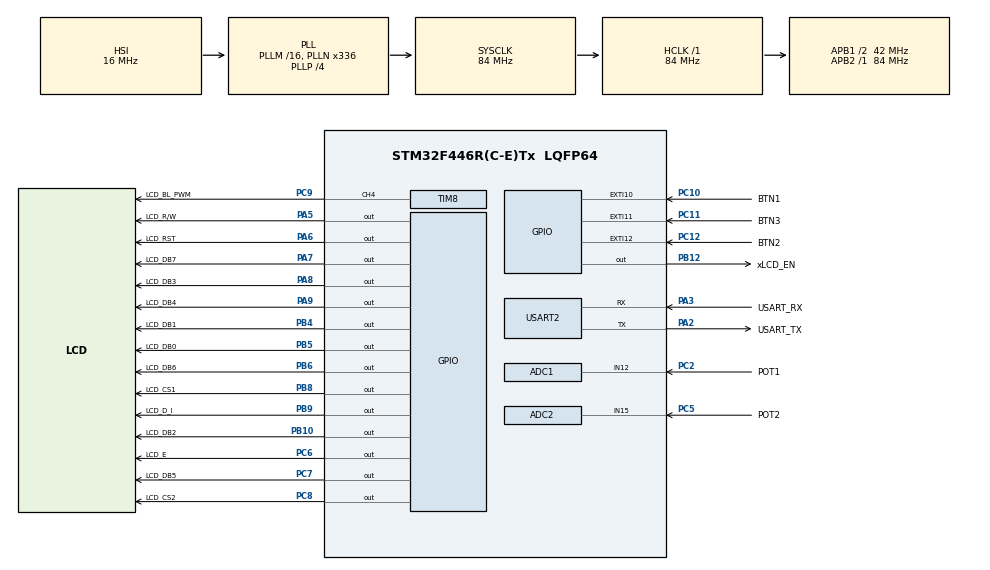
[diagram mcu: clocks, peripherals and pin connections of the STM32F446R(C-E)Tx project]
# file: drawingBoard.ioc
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ADC1.Channel-7\#ChannelRegularConversion=ADC_CHANNEL_12
ADC1.ContinuousConvMode=ENABLE
ADC1.DMAContinuousRequests=ENABLE
ADC1.DataAlign=ADC_DATAALIGN_RIGHT
ADC1.EOCSelection=ADC_EOC_SINGLE_CONV
ADC1.NbrOfConversion=1
ADC1.NbrOfConversionFlag=1
ADC1.Rank-7\#ChannelRegularConversion=1
ADC1.SamplingTime-7\#ChannelRegularConversion=ADC_SAMPLETIME_480CYCLES
ADC1.ScanConvMode=ENABLE
ADC1.master=1
ADC2.Channel-0\#ChannelRegularConversion=ADC_CHANNEL_15
ADC2.ContinuousConvMode=ENABLE
ADC2.DMAContinuousRequests=ENABLE
ADC2.NbrOfConversionFlag=1
ADC2.Rank-0\#ChannelRegularConversion=1
ADC2.SamplingTime-0\#ChannelRegularConversion=ADC_SAMPLETIME_480CYCLES
ADC2.ScanConvMode=ENABLE
Dma.ADC1.0.Direction=DMA_PERIPH_TO_MEMORY
Dma.ADC1.0.FIFOMode=DMA_FIFOMODE_DISABLE
Dma.ADC1.0.Instance=DMA2_Stream0
Dma.ADC1.0.MemDataAlignment=DMA_MDATAALIGN_WORD
Dma.ADC1.0.MemInc=DMA_MINC_ENABLE
Dma.ADC1.0.Mode=DMA_NORMAL
Dma.ADC1.0.PeriphDataAlignment=DMA_PDATAALIGN_WORD
Dma.ADC1.0.PeriphInc=DMA_PINC_DISABLE
Dma.ADC1.0.Priority=DMA_PRIORITY_LOW
Dma.ADC2.1.Direction=DMA_PERIPH_TO_MEMORY
Dma.ADC2.1.FIFOMode=DMA_FIFOMODE_DISABLE
Dma.ADC2.1.Instance=DMA2_Stream2
Dma.ADC2.1.MemDataAlignment=DMA_MDATAALIGN_WORD
Dma.ADC2.1.MemInc=DMA_MINC_ENABLE
Dma.ADC2.1.Mode=DMA_NORMAL
Dma.ADC2.1.PeriphDataAlignment=DMA_PDATAALIGN_WORD
Dma.ADC2.1.PeriphInc=DMA_PINC_DISABLE
Dma.ADC2.1.Priority=DMA_PRIORITY_LOW
Dma.Request0=ADC1
Dma.Request1=ADC2
Mcu.Family=STM32F4
Mcu.Name=STM32F446R(C-E)Tx
Mcu.Package=LQFP64
NVIC.DMA2_Stream0_IRQn=true\:0\:0\:false\:false\:true\:false\:true\:true
NVIC.DMA2_Stream2_IRQn=true\:0\:0\:false\:false\:true\:false\:true\:true
NVIC.EXTI15_10_IRQn=true\:0\:0\:false\:false\:true\:true\:true\:true
NVIC.PriorityGroup=NVIC_PRIORITYGROUP_0
NVIC.USART2_IRQn=true\:0\:0\:false\:false\:true\:true\:true\:true
PA13.GPIO_Label=TMS
PA13.Mode=Trace_Asynchronous_SW
PA13.Signal=SYS_JTMS-SWDIO
PA14.GPIO_Label=TCK
PA14.Mode=Trace_Asynchronous_SW
PA14.Signal=SYS_JTCK-SWCLK
PA2.GPIO_Label=USART_TX
PA2.Mode=Asynchronous
PA2.Signal=USART2_TX
PA3.GPIO_Label=USART_RX
PA3.Mode=Asynchronous
PA3.Signal=USART2_RX
PA5.GPIO_Label=LCD_R/W
PA5.Signal=GPIO_Output
PA6.GPIO_Label=LCD_RST
PA6.Signal=GPIO_Output
PA7.GPIO_Label=LCD_DB7
PA7.Signal=GPIO_Output
PA8.GPIO_Label=LCD_DB3
PA8.Signal=GPIO_Output
PA9.GPIO_Label=LCD_DB4
PA9.Signal=GPIO_Output
PB10.GPIO_Label=LCD_DB2
PB10.Signal=GPIO_Output
PB12.GPIO_Label=xLCD_EN
PB12.Signal=GPIO_Output
PB3.GPIO_Label=SWO
PB3.Mode=Trace_Asynchronous_SW
PB3.Signal=SYS_JTDO-SWO
PB4.GPIO_Label=LCD_DB1
PB4.Signal=GPIO_Output
PB5.GPIO_Label=LCD_DB0
PB5.Signal=GPIO_Output
PB6.GPIO_Label=LCD_DB6
PB6.Signal=GPIO_Output
PB8.GPIO_Label=LCD_CS1
PB8.Signal=GPIO_Output
PB9.GPIO_Label=LCD_D_I
PB9.Signal=GPIO_Output
PC10.GPIO_Label=BTN1
PC10.GPIO_ModeDefaultEXTI=GPIO_MODE_IT_FALLING
PC10.Signal=GPXTI10
PC11.GPIO_Label=BTN3
PC11.GPIO_ModeDefaultEXTI=GPIO_MODE_IT_FALLING
PC11.Signal=GPXTI11
PC12.GPIO_Label=BTN2
PC12.GPIO_ModeDefaultEXTI=GPIO_MODE_IT_FALLING
PC12.Signal=GPXTI12
PC14-OSC32_IN.Mode=LSE-External-Oscillator
PC14-OSC32_IN.Signal=RCC_OSC32_IN
PC15-OSC32_OUT.Mode=LSE-External-Oscillator
PC15-OSC32_OUT.Signal=RCC_OSC32_OUT
PC2.GPIO_Label=POT1
PC2.Signal=ADCx_IN12
PC5.GPIO_Label=POT2
PC5.Signal=ADCx_IN15
PC6.GPIO_Label=LCD_E
PC6.Signal=GPIO_Output
PC7.GPIO_Label=LCD_DB5
PC7.Signal=GPIO_Output
PC8.GPIO_Label=LCD_CS2
PC8.Signal=GPIO_Output
PC9.GPIO_Label=LCD_BL_PWM
PC9.Signal=S_TIM8_CH4
PH0-OSC_IN.Mode=HSE-External-Oscillator
PH0-OSC_IN.Signal=RCC_OSC_IN
PH1-OSC_OUT.Mode=HSE-External-Oscillator
PH1-OSC_OUT.Signal=RCC_OSC_OUT
ProjectManager.HeapSize=0x200
ProjectManager.StackSize=0x400
ProjectManager.TargetToolchain=Makefile
RCC.48MHZClocksFreq_Value=84000000
RCC.AHBFreq_Value=84000000
RCC.APB1CLKDivider=RCC_HCLK_DIV2
RCC.APB1Freq_Value=42000000
RCC.APB1TimFreq_Value=84000000
RCC.APB2Freq_Value=84000000
RCC.APB2TimFreq_Value=84000000
RCC.CortexFreq_Value=84000000
RCC.FLatency-AdvancedSettings=FLASH_LATENCY_2
RCC.HCLKFreq_Value=84000000
RCC.HSE_VALUE=8000000
RCC.HSI_VALUE=16000000
RCC.PLLN=336
RCC.PLLP=RCC_PLLP_DIV4
RCC.SYSCLKFreq_VALUE=84000000
RCC.SYSCLKSource=RCC_SYSCLKSOURCE_PLLCLK
RCC.USBFreq_Value=168000000
RCC.VCOOutputFreq_Value=336000000
SH.ADCx_IN12.0=ADC1_IN12,IN12
SH.ADCx_IN15.0=ADC1_IN15
SH.ADCx_IN15.1=ADC2_IN15,IN15
SH.S_TIM8_CH4.0=TIM8_CH4,PWM Generation4 CH4
TIM1.Period=0xFFFF - 1
TIM1.Prescaler=84 - 1
TIM8.AutoReloadPreload=TIM_AUTORELOAD_PRELOAD_ENABLE
TIM8.Channel-PWM\ Generation4\ CH4=TIM_CHANNEL_4
USART2.VirtualMode=VM_ASYNC
VP_TIM1_VS_ClockSourceINT.Mode=Internal
VP_TIM8_VS_ClockSourceINT.Mode=Internal
board=NUCLEO-F446RE

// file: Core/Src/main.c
/* USER CODE BEGIN Header */
/**
 ******************************************************************************
 * @file           : main.c
 * @brief          : Main program body
 ******************************************************************************
 * @attention
 *
 * Copyright (c) 2023 STMicroelectronics.
 * All rights reserved.
 *
 * This software is licensed under terms that can be found in the LICENSE file
 * in the root directory of this software component.
 * If no LICENSE file comes with this software, it is provided AS-IS.
 *
 ******************************************************************************
 */
/* USER CODE END Header */
#include "main.h"

/* USER CODE BEGIN Includes */
#include "state.h"
#include "menu.h"
#include "drawing.h"
#include "brightness.h"
#include "flash.h"
#include "stm32f446xx.h"
/* USER CODE END Includes */

ADC_HandleTypeDef hadc1;
ADC_HandleTypeDef hadc2;
DMA_HandleTypeDef hdma_adc1;
DMA_HandleTypeDef hdma_adc2;

TIM_HandleTypeDef htim1;
TIM_HandleTypeDef htim8;

UART_HandleTypeDef huart2;

void        SystemClock_Config(void);
static void MX_GPIO_Init(void);
static void MX_DMA_Init(void);
static void MX_ADC1_Init(void);
static void MX_USART2_UART_Init(void);
static void MX_TIM8_Init(void);
static void MX_ADC2_Init(void);
static void MX_TIM1_Init(void);
/* USER CODE BEGIN PFP */
void delay_us(uint16_t us);
/* USER CODE END PFP */

/* USER CODE BEGIN 0 */
void delay_us(uint16_t us)
{
    __HAL_TIM_SET_COUNTER(&htim1, 0); // set the counter value a 0
    while (__HAL_TIM_GET_COUNTER(&htim1) < us)
        ; // wait for the counter to reach the us input in the parameter
}
/* USER CODE END 0 */

int main(void)
{

    /* MCU
     * Configuration--------------------------------------------------------*/

    /* Reset of all peripherals, Initializes the Flash interface and the
     * Systick. */
    HAL_Init();

    /* Configure the system clock */
    SystemClock_Config();

    /* Initialize all configured peripherals */
    MX_GPIO_Init();
    MX_DMA_Init();
    MX_ADC1_Init();
    MX_USART2_UART_Init();
    MX_TIM8_Init();
    MX_ADC2_Init();
    MX_TIM1_Init();
    /* USER CODE BEGIN 2 */
    HAL_TIM_Base_Start(&htim1);
    HAL_UART_Receive_IT(&huart2, &Rx_byte, 1);
    LCD_Init();
    /* USER CODE END 2 */

    /* Infinite loop */
    /* USER CODE BEGIN WHILE */
    while (1) {
        switch (state) {
            case S_MENU:
                menuLoop();
                break;
            case S_DRAWING:
                drawingLoop();
                break;
            case S_SAVE:
                saveDrawing();
                break;
            case S_CHANGE_BRIGHTNESS:
                brightnessLoop();
                break;
        }
        /* USER CODE END WHILE */

    }
}

void SystemClock_Config(void)
{
    RCC_OscInitTypeDef RCC_OscInitStruct = {0};
    RCC_ClkInitTypeDef RCC_ClkInitStruct = {0};

    /** Configure the main internal regulator output voltage
     */
    __HAL_RCC_PWR_CLK_ENABLE();
    __HAL_PWR_VOLTAGESCALING_CONFIG(PWR_REGULATOR_VOLTAGE_SCALE3);

    /** Initializes the RCC Oscillators according to the specified parameters
     * in the RCC_OscInitTypeDef structure.
     */
    RCC_OscInitStruct.OscillatorType      = RCC_OSCILLATORTYPE_HSI;
    RCC_OscInitStruct.HSIState            = RCC_HSI_ON;
    RCC_OscInitStruct.HSICalibrationValue = RCC_HSICALIBRATION_DEFAULT;
    RCC_OscInitStruct.PLL.PLLState        = RCC_PLL_ON;
    RCC_OscInitStruct.PLL.PLLSource       = RCC_PLLSOURCE_HSI;
    RCC_OscInitStruct.PLL.PLLM            = 16;
    RCC_OscInitStruct.PLL.PLLN            = 336;
    RCC_OscInitStruct.PLL.PLLP            = RCC_PLLP_DIV4;
    RCC_OscInitStruct.PLL.PLLQ            = 2;
    RCC_OscInitStruct.PLL.PLLR            = 2;
    if (HAL_RCC_OscConfig(&RCC_OscInitStruct) != HAL_OK) {
        Error_Handler();
    }

    /** Initializes the CPU, AHB and APB buses clocks
     */
    RCC_ClkInitStruct.ClockType = RCC_CLOCKTYPE_HCLK | RCC_CLOCKTYPE_SYSCLK |
                                  RCC_CLOCKTYPE_PCLK1 | RCC_CLOCKTYPE_PCLK2;
    RCC_ClkInitStruct.SYSCLKSource   = RCC_SYSCLKSOURCE_PLLCLK;
    RCC_ClkInitStruct.AHBCLKDivider  = RCC_SYSCLK_DIV1;
    RCC_ClkInitStruct.APB1CLKDivider = RCC_HCLK_DIV2;
    RCC_ClkInitStruct.APB2CLKDivider = RCC_HCLK_DIV1;

    if (HAL_RCC_ClockConfig(&RCC_ClkInitStruct, FLASH_LATENCY_2) != HAL_OK) {
        Error_Handler();
    }
}

static void MX_ADC1_Init(void)
{

    ADC_ChannelConfTypeDef sConfig = {0};

    /** Configure the global features of the ADC (Clock, Resolution, Data Alignment and number of conversion)
     */
    hadc1.Instance                   = ADC1;
    hadc1.Init.ClockPrescaler        = ADC_CLOCK_SYNC_PCLK_DIV4;
    hadc1.Init.Resolution            = ADC_RESOLUTION_12B;
    hadc1.Init.ScanConvMode          = ENABLE;
    hadc1.Init.ContinuousConvMode    = ENABLE;
    hadc1.Init.DiscontinuousConvMode = DISABLE;
    hadc1.Init.ExternalTrigConvEdge  = ADC_EXTERNALTRIGCONVEDGE_NONE;
    hadc1.Init.ExternalTrigConv      = ADC_SOFTWARE_START;
    hadc1.Init.DataAlign             = ADC_DATAALIGN_RIGHT;
    hadc1.Init.NbrOfConversion       = 1;
    hadc1.Init.DMAContinuousRequests = ENABLE;
    hadc1.Init.EOCSelection          = ADC_EOC_SINGLE_CONV;
    if (HAL_ADC_Init(&hadc1) != HAL_OK) {
        Error_Handler();
    }

    /** Configure for the selected ADC regular channel its corresponding rank in the sequencer and its sample time.
     */
    sConfig.Channel      = ADC_CHANNEL_12;
    sConfig.Rank         = 1;
    sConfig.SamplingTime = ADC_SAMPLETIME_480CYCLES;
    if (HAL_ADC_ConfigChannel(&hadc1, &sConfig) != HAL_OK) {
        Error_Handler();
    }
}

static void MX_ADC2_Init(void)
{

    ADC_ChannelConfTypeDef sConfig = {0};

    /** Configure the global features of the ADC (Clock, Resolution, Data Alignment and number of conversion)
     */
    hadc2.Instance                   = ADC2;
    hadc2.Init.ClockPrescaler        = ADC_CLOCK_SYNC_PCLK_DIV4;
    hadc2.Init.Resolution            = ADC_RESOLUTION_12B;
    hadc2.Init.ScanConvMode          = ENABLE;
    hadc2.Init.ContinuousConvMode    = ENABLE;
    hadc2.Init.DiscontinuousConvMode = DISABLE;
    hadc2.Init.ExternalTrigConvEdge  = ADC_EXTERNALTRIGCONVEDGE_NONE;
    hadc2.Init.ExternalTrigConv      = ADC_SOFTWARE_START;
    hadc2.Init.DataAlign             = ADC_DATAALIGN_RIGHT;
    hadc2.Init.NbrOfConversion       = 1;
    hadc2.Init.DMAContinuousRequests = ENABLE;
    hadc2.Init.EOCSelection          = ADC_EOC_SINGLE_CONV;
    if (HAL_ADC_Init(&hadc2) != HAL_OK) {
        Error_Handler();
    }

    /** Configure for the selected ADC regular channel its corresponding rank in the sequencer and its sample time.
     */
    sConfig.Channel      = ADC_CHANNEL_15;
    sConfig.Rank         = 1;
    sConfig.SamplingTime = ADC_SAMPLETIME_480CYCLES;
    if (HAL_ADC_ConfigChannel(&hadc2, &sConfig) != HAL_OK) {
        Error_Handler();
    }
}

static void MX_TIM1_Init(void)
{

    TIM_ClockConfigTypeDef  sClockSourceConfig = {0};
    TIM_MasterConfigTypeDef sMasterConfig      = {0};

    htim1.Instance               = TIM1;
    htim1.Init.Prescaler         = 84 - 1;
    htim1.Init.CounterMode       = TIM_COUNTERMODE_UP;
    htim1.Init.Period            = 0xFFFF - 1;
    htim1.Init.ClockDivision     = TIM_CLOCKDIVISION_DIV1;
    htim1.Init.RepetitionCounter = 0;
    htim1.Init.AutoReloadPreload = TIM_AUTORELOAD_PRELOAD_DISABLE;
    if (HAL_TIM_Base_Init(&htim1) != HAL_OK) {
        Error_Handler();
    }
    sClockSourceConfig.ClockSource = TIM_CLOCKSOURCE_INTERNAL;
    if (HAL_TIM_ConfigClockSource(&htim1, &sClockSourceConfig) != HAL_OK) {
        Error_Handler();
    }
    sMasterConfig.MasterOutputTrigger = TIM_TRGO_RESET;
    sMasterConfig.MasterSlaveMode     = TIM_MASTERSLAVEMODE_DISABLE;
    if (HAL_TIMEx_MasterConfigSynchronization(&htim1, &sMasterConfig) !=
        HAL_OK) {
        Error_Handler();
    }
}

static void MX_TIM8_Init(void)
{

    TIM_ClockConfigTypeDef         sClockSourceConfig   = {0};
    TIM_MasterConfigTypeDef        sMasterConfig        = {0};
    TIM_OC_InitTypeDef             sConfigOC            = {0};
    TIM_BreakDeadTimeConfigTypeDef sBreakDeadTimeConfig = {0};

    htim8.Instance               = TIM8;
    htim8.Init.Prescaler         = 0;
    htim8.Init.CounterMode       = TIM_COUNTERMODE_UP;
    htim8.Init.Period            = 65535;
    htim8.Init.ClockDivision     = TIM_CLOCKDIVISION_DIV1;
    htim8.Init.RepetitionCounter = 0;
    htim8.Init.AutoReloadPreload = TIM_AUTORELOAD_PRELOAD_ENABLE;
    if (HAL_TIM_Base_Init(&htim8) != HAL_OK) {
        Error_Handler();
    }
    sClockSourceConfig.ClockSource = TIM_CLOCKSOURCE_INTERNAL;
    if (HAL_TIM_ConfigClockSource(&htim8, &sClockSourceConfig) != HAL_OK) {
        Error_Handler();
    }
    if (HAL_TIM_PWM_Init(&htim8) != HAL_OK) {
        Error_Handler();
    }
    sMasterConfig.MasterOutputTrigger = TIM_TRGO_RESET;
    sMasterConfig.MasterSlaveMode     = TIM_MASTERSLAVEMODE_DISABLE;
    if (HAL_TIMEx_MasterConfigSynchronization(&htim8, &sMasterConfig) !=
        HAL_OK) {
        Error_Handler();
    }
    sConfigOC.OCMode       = TIM_OCMODE_PWM1;
    sConfigOC.Pulse        = 0;
    sConfigOC.OCPolarity   = TIM_OCPOLARITY_HIGH;
    sConfigOC.OCFastMode   = TIM_OCFAST_DISABLE;
    sConfigOC.OCIdleState  = TIM_OCIDLESTATE_RESET;
    sConfigOC.OCNIdleState = TIM_OCNIDLESTATE_RESET;
    if (HAL_TIM_PWM_ConfigChannel(&htim8, &sConfigOC, TIM_CHANNEL_4) !=
        HAL_OK) {
        Error_Handler();
    }
    sBreakDeadTimeConfig.OffStateRunMode  = TIM_OSSR_DISABLE;
    sBreakDeadTimeConfig.OffStateIDLEMode = TIM_OSSI_DISABLE;
    sBreakDeadTimeConfig.LockLevel        = TIM_LOCKLEVEL_OFF;
    sBreakDeadTimeConfig.DeadTime         = 0;
    sBreakDeadTimeConfig.BreakState       = TIM_BREAK_DISABLE;
    sBreakDeadTimeConfig.BreakPolarity    = TIM_BREAKPOLARITY_HIGH;
    sBreakDeadTimeConfig.AutomaticOutput  = TIM_AUTOMATICOUTPUT_DISABLE;
    if (HAL_TIMEx_ConfigBreakDeadTime(&htim8, &sBreakDeadTimeConfig) !=
        HAL_OK) {
        Error_Handler();
    }
    HAL_TIM_MspPostInit(&htim8);
}

static void MX_USART2_UART_Init(void)
{

    huart2.Instance          = USART2;
    huart2.Init.BaudRate     = 115200;
    huart2.Init.WordLength   = UART_WORDLENGTH_8B;
    huart2.Init.StopBits     = UART_STOPBITS_1;
    huart2.Init.Parity       = UART_PARITY_NONE;
    huart2.Init.Mode         = UART_MODE_TX_RX;
    huart2.Init.HwFlowCtl    = UART_HWCONTROL_NONE;
    huart2.Init.OverSampling = UART_OVERSAMPLING_16;
    if (HAL_UART_Init(&huart2) != HAL_OK) {
        Error_Handler();
    }
}

static void MX_DMA_Init(void)
{

    /* DMA controller clock enable */
    __HAL_RCC_DMA2_CLK_ENABLE();

    /* DMA interrupt init */
    /* DMA2_Stream0_IRQn interrupt configuration */
    HAL_NVIC_SetPriority(DMA2_Stream0_IRQn, 0, 0);
    HAL_NVIC_EnableIRQ(DMA2_Stream0_IRQn);
    /* DMA2_Stream2_IRQn interrupt configuration */
    HAL_NVIC_SetPriority(DMA2_Stream2_IRQn, 0, 0);
    HAL_NVIC_EnableIRQ(DMA2_Stream2_IRQn);
}

static void MX_GPIO_Init(void)
{
    GPIO_InitTypeDef GPIO_InitStruct = {0};

    /* GPIO Ports Clock Enable */
    __HAL_RCC_GPIOC_CLK_ENABLE();
    __HAL_RCC_GPIOH_CLK_ENABLE();
    __HAL_RCC_GPIOA_CLK_ENABLE();
    __HAL_RCC_GPIOB_CLK_ENABLE();

    /*Configure GPIO pin Output Level */
    HAL_GPIO_WritePin(GPIOA,
                      LCD_R_W_Pin | LCD_RST_Pin | LCD_DB7_Pin | LCD_DB3_Pin |
                          LCD_DB4_Pin,
                      GPIO_PIN_RESET);

    /*Configure GPIO pin Output Level */
    HAL_GPIO_WritePin(GPIOB,
                      LCD_DB2_Pin | xLCD_EN_Pin | LCD_DB1_Pin | LCD_DB0_Pin |
                          LCD_DB6_Pin | LCD_CS1_Pin | LCD_D_I_Pin,
                      GPIO_PIN_RESET);

    /*Configure GPIO pin Output Level */
    HAL_GPIO_WritePin(GPIOC, LCD_E_Pin | LCD_DB5_Pin | LCD_CS2_Pin,
                      GPIO_PIN_RESET);

    /*Configure GPIO pins : LCD_R_W_Pin LCD_RST_Pin LCD_DB7_Pin LCD_DB3_Pin
                             LCD_DB4_Pin */
    GPIO_InitStruct.Pin =
        LCD_R_W_Pin | LCD_RST_Pin | LCD_DB7_Pin | LCD_DB3_Pin | LCD_DB4_Pin;
    GPIO_InitStruct.Mode  = GPIO_MODE_OUTPUT_PP;
    GPIO_InitStruct.Pull  = GPIO_NOPULL;
    GPIO_InitStruct.Speed = GPIO_SPEED_FREQ_LOW;
    HAL_GPIO_Init(GPIOA, &GPIO_InitStruct);

    /*Configure GPIO pins : LCD_DB2_Pin xLCD_EN_Pin LCD_DB1_Pin LCD_DB0_Pin
                             LCD_DB6_Pin LCD_CS1_Pin LCD_D_I_Pin */
    GPIO_InitStruct.Pin = LCD_DB2_Pin | xLCD_EN_Pin | LCD_DB1_Pin |
                          LCD_DB0_Pin | LCD_DB6_Pin | LCD_CS1_Pin | LCD_D_I_Pin;
    GPIO_InitStruct.Mode  = GPIO_MODE_OUTPUT_PP;
    GPIO_InitStruct.Pull  = GPIO_NOPULL;
    GPIO_InitStruct.Speed = GPIO_SPEED_FREQ_LOW;
    HAL_GPIO_Init(GPIOB, &GPIO_InitStruct);

    /*Configure GPIO pins : LCD_E_Pin LCD_DB5_Pin LCD_CS2_Pin */
    GPIO_InitStruct.Pin   = LCD_E_Pin | LCD_DB5_Pin | LCD_CS2_Pin;
    GPIO_InitStruct.Mode  = GPIO_MODE_OUTPUT_PP;
    GPIO_InitStruct.Pull  = GPIO_NOPULL;
    GPIO_InitStruct.Speed = GPIO_SPEED_FREQ_LOW;
    HAL_GPIO_Init(GPIOC, &GPIO_InitStruct);

    /*Configure GPIO pins : BTN1_Pin BTN3_Pin BTN2_Pin */
    GPIO_InitStruct.Pin  = BTN1_Pin | BTN3_Pin | BTN2_Pin;
    GPIO_InitStruct.Mode = GPIO_MODE_IT_FALLING;
    GPIO_InitStruct.Pull = GPIO_NOPULL;
    HAL_GPIO_Init(GPIOC, &GPIO_InitStruct);

    /* EXTI interrupt init*/
    HAL_NVIC_SetPriority(EXTI15_10_IRQn, 0, 0);
    HAL_NVIC_EnableIRQ(EXTI15_10_IRQn);

}

void Error_Handler(void)
{
    /* USER CODE BEGIN Error_Handler_Debug */
    /* User can add his own implementation to report the HAL error return state
     */
    __disable_irq();
    while (1) {
    }
    /* USER CODE END Error_Handler_Debug */
}

#ifdef USE_FULL_ASSERT
/**
 * @brief  Reports the name of the source file and the source line number
 *         where the assert_param error has occurred.
 * @param  file: pointer to the source file name
 * @param  line: assert_param error line source number
 * @retval None
 */
void assert_failed(uint8_t *file, uint32_t line)
{
    /* USER CODE BEGIN 6 */
    /* User can add his own implementation to report the file name and line
       number,
       //ex: printf("Wrong parameters value: file %s on line %d\r\n", file,
       line) */
    /* USER CODE END 6 */
}
#endif /* USE_FULL_ASSERT */
